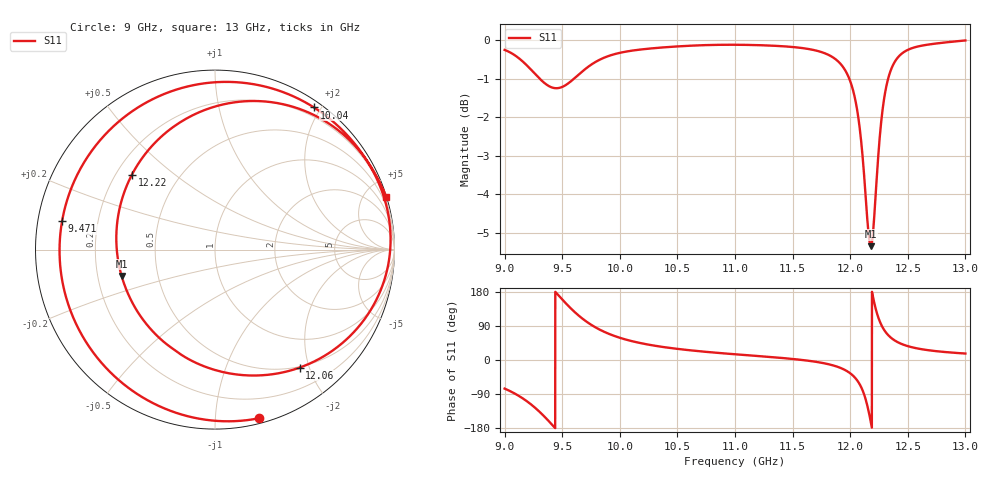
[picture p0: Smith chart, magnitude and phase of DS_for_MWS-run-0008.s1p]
! TOUCHSTONE file generated by CST DESIGN STUDIO
! Date and time: Wed Feb  5 13:19:41 2025
! Project name: C:\Work\MatlabApps\UnitCellOptimizationMatlab\CST\unitcell.cst
! Tree item: Tasks\Sweep1\SPara1\S-Parameters
! Header version: 2024
! Port assignment regex: !\s*Touchstone port\s*([0-9]+)\s*=\s*(CST MWS port|CST DES external port|CST DES block port)\s*(.+)\s* \(\"(.*)\"\)(\s*mode\s*([0-9]+))?.*
! Touchstone port assignment:
! Touchstone port 1 = CST DES external port 1 ("")
# GHz S MA R 50
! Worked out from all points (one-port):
!   4001 points, 9 GHz to 13 GHz, reference 50 ohm
!   lowest |S11| = -5.3 dB at 12.18 GHz (marker M1), VSWR 3.35, Z = 15.2 - j6.28 ohm
!   |S11| at or under -10 dB: nowhere
!   S11 on the Smith chart (normalised r, x): 9 GHz: 0.04, -1.29; 9.471 GHz: 0.07, +0.09; 10.04 GHz: 0.08, +1.91; 12.06 GHz: 0.49, -1.85; 12.22 GHz: 0.26, +0.36; 13 GHz: 0.03, +6.67
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9  0.9709 -75.5
9.136  0.9439 -97.0
9.244  0.9105 -120.8
9.371  0.874 -157.3
9.471  0.8667 169.5
9.5  0.8694 159.8
9.602  0.891 128.3
9.702  0.9176 103.2
9.848  0.9464 76.7
10  0.9624 58.7
10.038  0.965 55.2
10.236  0.974 41.2
10.5  0.981 29.4
11  0.9859 15.1
11.5  0.9793 2.7
11.842  0.9512 -13.4
12  0.8846 -35.0
12.062  0.8089 -54.4
12.099  0.7297 -74.0
12.127  0.6493 -96.5
12.152  0.577 -124.7
12.179  0.5407 -164.3
12.219  0.6232 138.0
12.255  0.7439 103.2
12.296  0.8424 78.7
12.379  0.9326 53.0
12.5  0.971 36.6
13  0.9986 17.1
